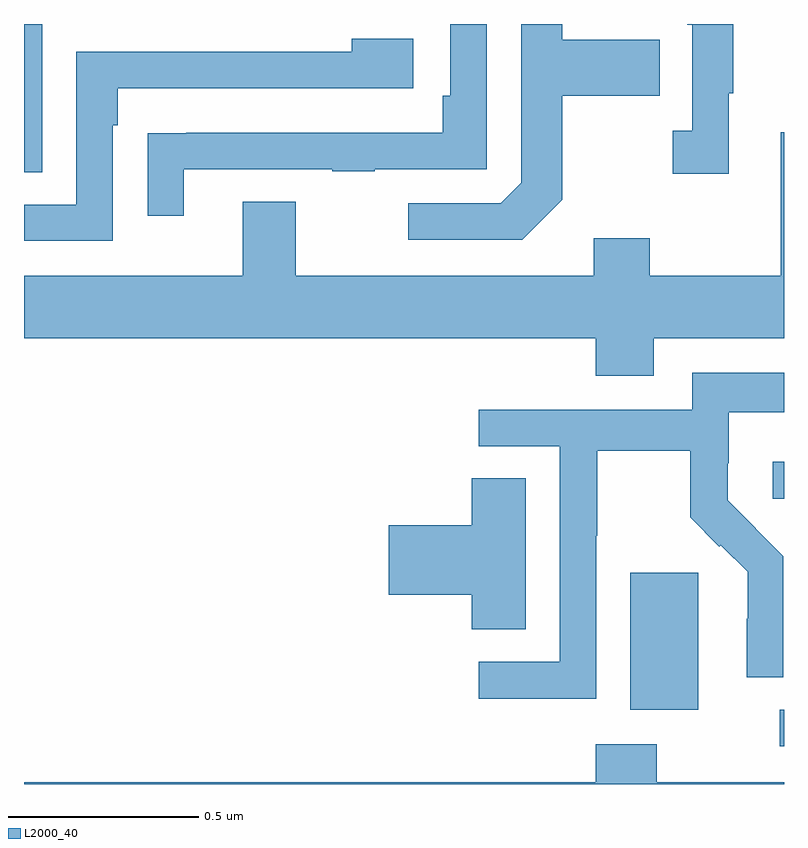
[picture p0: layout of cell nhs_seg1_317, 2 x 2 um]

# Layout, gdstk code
import gdstk
lib = gdstk.Library(unit=1e-6, precision=1e-09)
def R(c, l, rs):  # rectangles x0, y0, x1, y1
    for r in rs: c.add(gdstk.rectangle(r[:2], r[2:], *l))
def P(c, l, *ps):  # polygons
    for p in ps: c.add(gdstk.Polygon(p, *l))
L2000_40 = (2000, 40)

nhs_seg1_317 = lib.new_cell('nhs_seg1_317')
R(nhs_seg1_317, L2000_40, [(115.989,577.299,116,577.395), (115.595,577.394,115.774,577.755), (115.971,577.95,116,578.047), (114,578.809,114.048,579.199)])
P(nhs_seg1_317, L2000_40, [(114.421,578.817),(114.811,578.817),(114.811,578.812),(114.923,578.812),(114.923,578.817),(115.218,578.817),(115.218,579.199),(115.122,579.199),(115.122,579.01),(115.102,579.01),(115.102,578.913),(114.427,578.913),(114.427,578.912),(114.325,578.912),(114.325,578.694),(114.421,578.694)],
  [(115.417,578.737),(115.417,579.01),(115.673,579.01),(115.673,579.157),(115.417,579.157),(115.417,579.199),(115.308,579.199),(115.308,578.781),(115.254,578.727),(115.011,578.727),(115.011,578.631),(115.311,578.631)],
  [(115.855,579.017),(115.867,579.017),(115.867,579.199),(115.746,579.199),(115.746,579.197),(115.758,579.197),(115.758,578.918),(115.707,578.918),(115.707,578.805),(115.855,578.805)],
  [(114.234,578.933),(114.247,578.933),(114.247,579.03),(115.024,579.03),(115.024,579.16),(114.863,579.16),(114.863,579.126),(114.138,579.126),(114.138,578.724),(114,578.724),(114,578.628),(114.234,578.628)],
  [(115.657,578.372),(116,578.372),(116,578.914),(115.991,578.914),(115.991,578.536),(115.647,578.536),(115.647,578.635),(115.499,578.635),(115.499,578.536),(114.715,578.536),(114.715,578.731),(114.575,578.731),(114.575,578.536),(114,578.536),(114,578.372),(115.505,578.372),(115.505,578.273),(115.657,578.273)],
  [(115.506,577.852),(115.509,577.852),(115.509,578.076),(115.753,578.076),(115.753,577.901),(115.83,577.824),(115.833,577.827),(115.904,577.757),(115.904,577.634),(115.902,577.634),(115.902,577.48),(115.998,577.48),(115.998,577.798),(115.925,577.871),(115.926,577.872),(115.852,577.946),(115.852,578.043),(115.854,578.043),(115.854,578.177),(116,578.177),(116,578.281),(115.758,578.281),(115.758,578.184),(115.197,578.184),(115.197,578.088),(115.41,578.088),(115.41,577.521),(115.197,577.521),(115.197,577.423),(115.506,577.423)],
  [(115.321,578.003),(115.178,578.003),(115.178,577.88),(114.96,577.88),(114.96,577.697),(115.178,577.697),(115.178,577.606),(115.321,577.606)],
  [(116,577.204),(115.665,577.204),(115.665,577.303),(115.505,577.303),(115.505,577.204),(114,577.204),(114,577.199),(116,577.199)])

lib.write_gds('nhs_seg1_317.gds')
